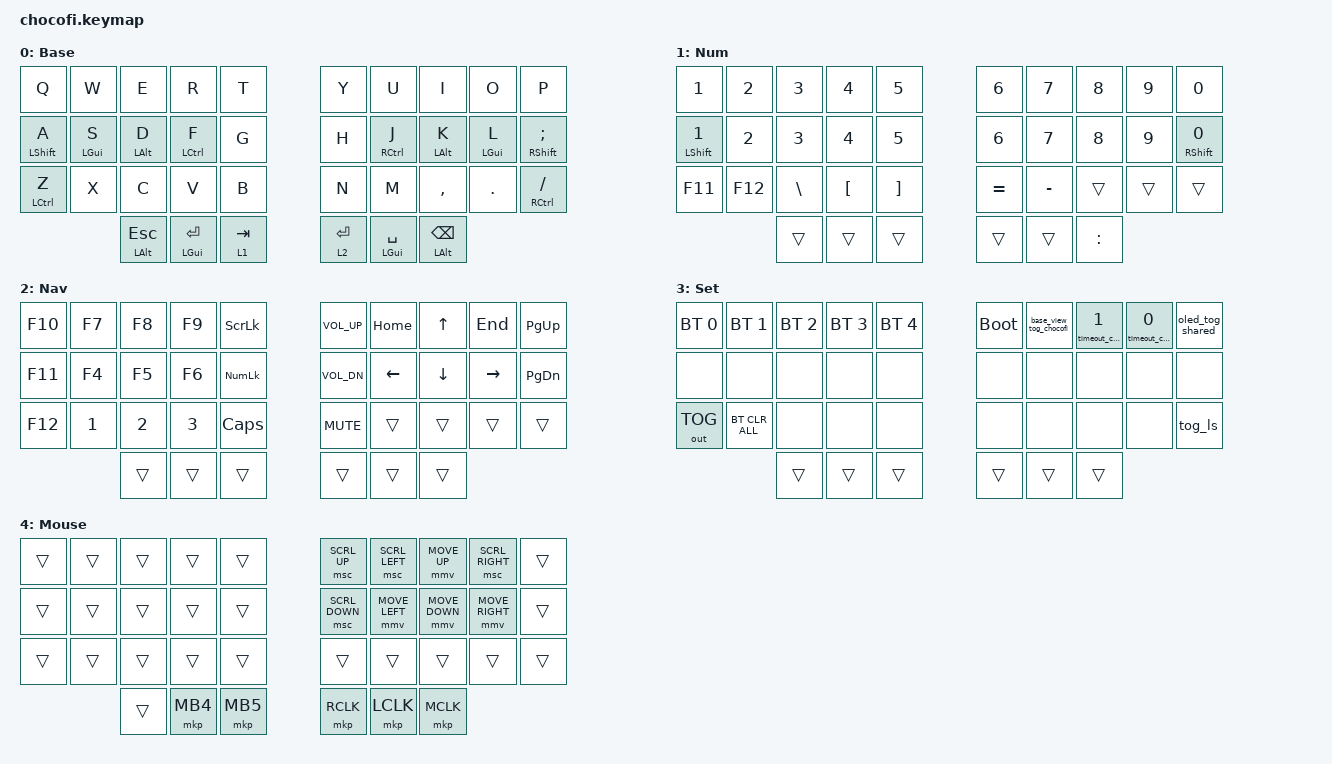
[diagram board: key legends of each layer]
/* Chocofi five-layer keymap with six thumbs. SPDX-License-Identifier: MIT */
#include <behaviors.dtsi>
#include <dt-bindings/zmk/bt.h>
#include <dt-bindings/zmk/outputs.h>
#include <dt-bindings/zmk/pointing.h>
#include "../common/studio_features.dtsi"
#include "../common/studio_runtime_layers.dtsi"
#include <dt-bindings/zmk/keys.h>

/* Hold-tap timing and decision behavior are inherited from
 * common/personal_hold_tap.dtsi. No positional hold filter is configured:
 * an all-0xffffffff list is not a wildcard in ZMK's hold-tap implementation.
 */

/ {
    behaviors {
        base_view_tog_chocofi: base_view_toggle_chocofi {
            compatible = "zmk,behavior-base-view-toggle";
            #binding-cells = <0>;
            display-name = "BASE View Cycle";
        };
    };

    combos {
        compatible = "zmk,combos";

        combo_studio_unlock {
            timeout-ms = <50>;
            require-prior-idle-ms = <(-1)>;
            key-positions = <0 1>;
            bindings = <&studio_unlock>;
        };

        combo_set_layer {
            timeout-ms = <50>;
            require-prior-idle-ms = <(-1)>;
            key-positions = <32 33>;
            bindings = <&lt 3 ESC>;
        };

        combo_backspace {
            timeout-ms = <50>;
            require-prior-idle-ms = <(-1)>;
            key-positions = <16 17>;
            bindings = <&mt LALT BSPC>;
        };

        combo_delete {
            timeout-ms = <50>;
            require-prior-idle-ms = <(-1)>;
            key-positions = <17 18>;
            bindings = <&mt LGUI DEL>;
        };

        combo_apos {
            timeout-ms = <50>;
            require-prior-idle-ms = <(-1)>;
            key-positions = <16 18>;
            bindings = <&mt RCTRL APOS>;
        };

        combo_tab {
            timeout-ms = <50>;
            require-prior-idle-ms = <(-1)>;
            key-positions = <12 13>;
            bindings = <&mt LALT TAB>;
        };

        combo_grave {
            timeout-ms = <50>;
            require-prior-idle-ms = <(-1)>;
            key-positions = <11 12>;
            bindings = <&mt LGUI GRAVE>;
        };
    };

    keymap {
        compatible = "zmk,keymap";

        default_layer {
            display-name = "Base";
            bindings = <
                &kp Q              &kp W              &kp E              &kp R              &kp T              &kp Y              &kp U              &kp I              &kp O              &kp P
                &mt LSHIFT A       &mt LGUI S         &mt LALT D         &mt LCTRL F        &kp G              &kp H              &mt RCTRL J        &mt LALT K         &mt LGUI L         &mt RSHIFT SEMI
                &mt LCTRL Z        &kp X              &kp C              &kp V              &kp B              &kp N              &kp M              &kp COMMA          &kp DOT            &mt RCTRL FSLH
                                        &mt LALT ESC    &mt LGUI ENTER    &lt 1 TAB         &lt 2 ENTER        &mt LGUI SPACE     &mt LALT BACKSPACE
            >;
        };

        num_layer {
            display-name = "Num";
            bindings = <
                &kp N1             &kp N2             &kp N3             &kp N4             &kp N5             &kp N6             &kp N7             &kp N8             &kp N9             &kp N0
                &mt LSHIFT N1      &kp N2             &kp N3             &kp N4             &kp N5             &kp N6             &kp N7             &kp N8             &kp N9             &mt RSHIFT N0
                &kp F11            &kp F12            &kp BSLH           &kp LBKT           &kp RBKT           &kp EQUAL          &kp MINUS          &trans             &trans             &trans
                                        &trans          &trans             &trans            &trans             &trans             &kp COLON
            >;
        };

        nav_layer {
            display-name = "Nav";
            bindings = <
                &kp F10            &kp F7             &kp F8             &kp F9             &kp SCROLLLOCK     &kp C_VOL_UP       &kp HOME           &kp UP_ARROW       &kp END            &kp PAGE_UP
                &kp F11            &kp F4             &kp F5             &kp F6             &kp KP_NUMLOCK     &kp C_VOL_DN       &kp LEFT           &kp DOWN           &kp RIGHT          &kp PAGE_DOWN
                &kp F12            &kp N1             &kp N2             &kp N3             &kp CAPSLOCK       &kp C_MUTE         &trans              &trans              &trans              &trans
                                        &trans          &trans             &trans            &trans             &trans             &trans
            >;
        };

        set_layer {
            display-name = "Set";
            bindings = <
                &bt BT_SEL 0       &bt BT_SEL 1       &bt BT_SEL 2       &bt BT_SEL 3       &bt BT_SEL 4       &bootloader        &base_view_tog_chocofi &timeout_cycle_shared 1 &timeout_cycle_shared 0 &oled_tog_shared
                &none              &none              &none              &none              &none              &none              &none              &none              &none              &none
                &out OUT_TOG       &bt BT_CLR_ALL     &none              &none              &none              &none              &none              &none              &none              &tog_ls
                                        &trans          &trans             &trans            &trans             &trans             &trans
            >;
        };

        mouse_layer {
            display-name = "Mouse";
            bindings = <
                &trans  &trans  &trans  &trans  &trans  &msc SCRL_UP    &msc SCRL_LEFT  &mmv MOVE_UP    &msc SCRL_RIGHT  &trans
                &trans  &trans  &trans  &trans  &trans  &msc SCRL_DOWN  &mmv MOVE_LEFT &mmv MOVE_DOWN  &mmv MOVE_RIGHT  &trans
                &trans  &trans  &trans  &trans  &trans  &trans         &trans         &trans          &trans           &trans
                        &trans  &mkp MB4 &mkp MB5 &mkp RCLK &mkp LCLK &mkp MCLK
            >;
        };

        ZMK_STUDIO_RUNTIME_LAYER_SLOTS_4
    };
};
